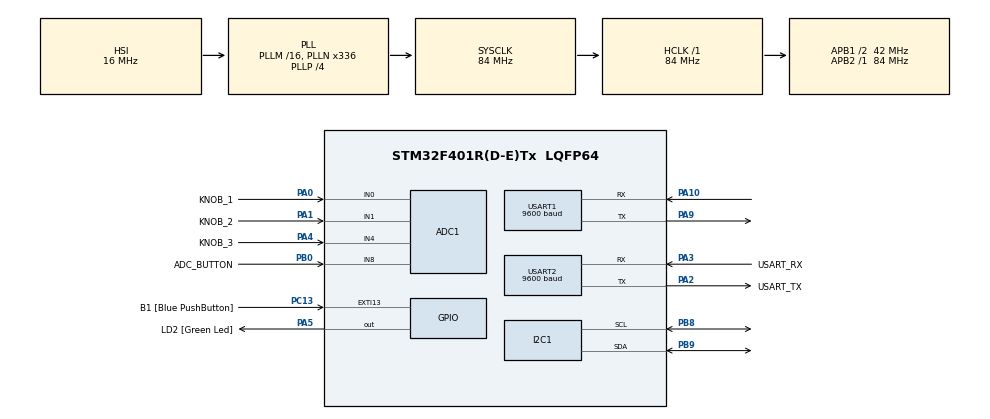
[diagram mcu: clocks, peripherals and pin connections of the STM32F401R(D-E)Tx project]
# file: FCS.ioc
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ADC1.Channel-0\#ChannelRegularConversion=ADC_CHANNEL_0
ADC1.Channel-1\#ChannelRegularConversion=ADC_CHANNEL_1
ADC1.Channel-2\#ChannelRegularConversion=ADC_CHANNEL_4
ADC1.Channel-3\#ChannelRegularConversion=ADC_CHANNEL_8
ADC1.ContinuousConvMode=ENABLE
ADC1.NbrOfConversion=4
ADC1.NbrOfConversionFlag=1
ADC1.Rank-0\#ChannelRegularConversion=1
ADC1.Rank-1\#ChannelRegularConversion=2
ADC1.Rank-2\#ChannelRegularConversion=3
ADC1.Rank-3\#ChannelRegularConversion=4
ADC1.SamplingTime-0\#ChannelRegularConversion=ADC_SAMPLETIME_84CYCLES
ADC1.SamplingTime-1\#ChannelRegularConversion=ADC_SAMPLETIME_84CYCLES
ADC1.SamplingTime-2\#ChannelRegularConversion=ADC_SAMPLETIME_84CYCLES
ADC1.SamplingTime-3\#ChannelRegularConversion=ADC_SAMPLETIME_84CYCLES
ADC1.ScanConvMode=ENABLE
ADC1.master=1
Mcu.Family=STM32F4
Mcu.Name=STM32F401R(D-E)Tx
Mcu.Package=LQFP64
NVIC.PriorityGroup=NVIC_PRIORITYGROUP_4
NVIC.USART1_IRQn=true\:0\:0\:false\:false\:true\:true\:true\:true
NVIC.USART2_IRQn=true\:0\:0\:false\:false\:true\:true\:true\:true
PA0-WKUP.GPIO_Label=KNOB_1
PA0-WKUP.Signal=ADCx_IN0
PA1.GPIO_Label=KNOB_2
PA1.Signal=ADCx_IN1
PA10.Mode=Asynchronous
PA10.Signal=USART1_RX
PA13.GPIO_Label=TMS
PA13.Mode=Serial_Wire
PA13.Signal=SYS_JTMS-SWDIO
PA14.GPIO_Label=TCK
PA14.Mode=Serial_Wire
PA14.Signal=SYS_JTCK-SWCLK
PA2.GPIO_Label=USART_TX
PA2.GPIO_Mode=GPIO_MODE_AF_PP
PA2.GPIO_PuPd=GPIO_NOPULL
PA2.GPIO_Speed=GPIO_SPEED_FREQ_LOW
PA2.Mode=Asynchronous
PA2.Signal=USART2_TX
PA3.GPIO_Label=USART_RX
PA3.GPIO_Mode=GPIO_MODE_AF_PP
PA3.GPIO_PuPd=GPIO_NOPULL
PA3.GPIO_Speed=GPIO_SPEED_FREQ_LOW
PA3.Mode=Asynchronous
PA3.Signal=USART2_RX
PA4.GPIO_Label=KNOB_3
PA4.Signal=ADCx_IN4
PA5.GPIO_Label=LD2 [Green Led]
PA5.GPIO_Mode=GPIO_MODE_OUTPUT_PP
PA5.GPIO_PuPd=GPIO_NOPULL
PA5.GPIO_Speed=GPIO_SPEED_FREQ_LOW
PA5.Signal=GPIO_Output
PA9.Mode=Asynchronous
PA9.Signal=USART1_TX
PB0.GPIO_Label=ADC_BUTTON
PB0.Signal=ADCx_IN8
PB3.GPIO_Label=SWO
PB3.Signal=SYS_JTDO-SWO
PB8.Mode=I2C
PB8.Signal=I2C1_SCL
PB9.Mode=I2C
PB9.Signal=I2C1_SDA
PC13-ANTI_TAMP.GPIO_Label=B1 [Blue PushButton]
PC13-ANTI_TAMP.GPIO_ModeDefaultEXTI=GPIO_MODE_IT_FALLING
PC13-ANTI_TAMP.GPIO_PuPd=GPIO_NOPULL
PC13-ANTI_TAMP.Signal=GPXTI13
PC14-OSC32_IN.Mode=LSE-External-Oscillator
PC14-OSC32_IN.Signal=RCC_OSC32_IN
PC15-OSC32_OUT.Mode=LSE-External-Oscillator
PC15-OSC32_OUT.Signal=RCC_OSC32_OUT
PH0\ -\ OSC_IN.Mode=HSE-External-Oscillator
PH0\ -\ OSC_IN.Signal=RCC_OSC_IN
PH1\ -\ OSC_OUT.Mode=HSE-External-Oscillator
PH1\ -\ OSC_OUT.Signal=RCC_OSC_OUT
ProjectManager.HeapSize=0x200
ProjectManager.StackSize=0x400
ProjectManager.TargetToolchain=STM32CubeIDE
RCC.48MHZClocksFreq_Value=48000000
RCC.AHBFreq_Value=84000000
RCC.APB1CLKDivider=RCC_HCLK_DIV2
RCC.APB1Freq_Value=42000000
RCC.APB1TimFreq_Value=84000000
RCC.APB2Freq_Value=84000000
RCC.APB2TimFreq_Value=84000000
RCC.CortexFreq_Value=84000000
RCC.HCLKFreq_Value=84000000
RCC.HSE_VALUE=8000000
RCC.HSI_VALUE=16000000
RCC.PLLN=336
RCC.PLLP=RCC_PLLP_DIV4
RCC.PLLQ=7
RCC.SYSCLKFreq_VALUE=84000000
RCC.SYSCLKSource=RCC_SYSCLKSOURCE_PLLCLK
RCC.VCOOutputFreq_Value=336000000
SH.ADCx_IN0.0=ADC1_IN0,IN0
SH.ADCx_IN1.0=ADC1_IN1,IN1
SH.ADCx_IN4.0=ADC1_IN4,IN4
SH.ADCx_IN8.0=ADC1_IN8,IN8
USART1.BaudRate=9600
USART1.VirtualMode=VM_ASYNC
USART2.BaudRate=9600
USART2.VirtualMode=VM_ASYNC
board=NUCLEO-F401RE

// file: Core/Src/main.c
/* USER CODE BEGIN Header */
/**
  * @file           : main.c
  * @brief          : Main program body (Refactored for Logic Encapsulation)
  */
/* USER CODE END Header */
#include "main.h"
#include "adc.h"
#include "i2c.h"
#include "usart.h"
#include "gpio.h"

/* USER CODE BEGIN Includes */
#include <stdio.h>
#include <string.h>
#include "ssd1306.h"
#include "ssd1306_fonts.h"
#include "bmp280.h"
#include "ui.h"
#include "input.h"
#include "flash_ops.h"
#include "fcs_core.h" // Business Logic Core
/* USER CODE END Includes */

/* USER CODE BEGIN PV */
FCS_System_t fcs; // System Global Instance

// [Refactoring Note]
// UART Ring Buffer & Command logic moved to fcs_core.c
// Only Handle injection remains here.

extern UART_HandleTypeDef huart2;
/* USER CODE END PV */

void SystemClock_Config(void);

/* USER CODE BEGIN 0 */

// [UART Rx Callback] - Redirect to Core
void HAL_UART_RxCpltCallback(UART_HandleTypeDef *huart) {
  if (huart->Instance == USART2 || huart->Instance == USART1) {
    FCS_UART_RxCallback(huart);
  }
}
/* USER CODE END 0 */

int main(void)
{

  /* MCU Configuration--------------------------------------------------------*/

  /* Reset of all peripherals, Initializes the Flash interface and the Systick. */
  HAL_Init();

  /* Configure the system clock */
  SystemClock_Config();

  /* Initialize all configured peripherals */
  MX_GPIO_Init();
  MX_USART2_UART_Init();
  MX_ADC1_Init();
  MX_I2C1_Init();
  MX_USART1_UART_Init();
  /* USER CODE BEGIN 2 */

  // 1. OLED Init
  HAL_Delay(100);
  ssd1306_Init();
  ssd1306_Fill(0);

  // 2. BMP280 Init
  HAL_Delay(100);
  uint8_t bmp_res = BMP280_Init();
  if (bmp_res != 0) {
      ssd1306_SetCursor(0,0);
      ssd1306_WriteString("SENSOR ERROR", Font_7x10, White);
      ssd1306_UpdateScreen();
  }

  // 3. System & UI Init
  FCS_Init_System(&fcs);
  UI_Init(&fcs); // Initialize UI State specifically

  // [Flash] Load Saved Battery Position
  Flash_Load_BatteryPos(&fcs);

  // [UART] Start Reception (Trigger Core ISR)
  // We need to kickstart the interrupt chain.
  // The FCS_UART_RxCallback expects standard HAL Rx IT.
  // We can manually call a helper or just start it here.
  // Note: FCS_core doesn't expose the start function, but the callback relies on HAL_UART_Receive_IT.
  // We need to call it once. But we need a buffer pointer.
  // Ah, the latch buffer is internal to fcs_core.c.
  // Ideally, fcs_core should expose "FCS_Serial_Start(huart)".
  // For now, I'll access the latch via a slight hack or assuming fcs_core handles it?
  // No, fcs_core static vars are hidden.
  // FIX: Calling FCS_UART_RxCallback directly won't work as it expects to be in ISR.
  // We need to call HAL_UART_Receive_IT from Main once.
  // But we don't know the address of 'rx_byte_latched' in fcs_core.c.
  // I must add FCS_Serial_Init to fcs_core.c public API.
  // WORKAROUND used in previous logic: The main.c declared 'rx_byte'.
  // I will add a temporary one-byte buffer here solely to kick off the chain *if* I haven't refactored well.
  // BUT I did refactor. I should add `FCS_Serial_Start` to fcs_core.

  // Let's assume I'll add `FCS_Serial_Start` later? No, break the code.
  // I will stick to what I wrote: `FCS_UART_RxCallback`.
  // Wait, `FCS_UART_RxCallback` calls `HAL_UART_Receive_IT(huart, &rx_byte_latched, 1);`
  // I need to start the first one.
  // I will cheat: fcs_core.c's `FCS_UART_RxCallback` is the ISR handler.
  // The FIRST call must be done.
  // I will add `FCS_Serial_Start(UART_HandleTypeDef *huart)` to fcs_core right now?
  // Yes, I need to modify `fcs_core.c` and `.h` again?
  // Or I can just trigger the callback manually? No, `huart->Instance` etc checks.

  // Quick Fix: Define `uint8_t dummy;` and start IT here?
  // `HAL_UART_Receive_IT(&huart2, &dummy, 1);` -> Callback will fire -> calls FCS handler -> FCS handler re-arms with IT'S internal buffer.
  // Does `FCS_UART_RxCallback` use the passed byte?
  // `u_buf[u_head] = rx_byte_latched;`
  // It uses its INTERNAL `rx_byte_latched`.
  // If I start with `&dummy`, the first byte received will go to `dummy`.
  // Then the callback fires. `FCS_UART_RxCallback` reads `rx_byte_latched` (which acts as junk or 0) and puts in ring buffer?
  // No, `rx_byte_latched` in fcs_core is static.
  // If the first receive uses `dummy`, the valid data is in `dummy`.
  // The callback logic: `u_buf = rx_byte_latched`.
  // It will read uninitialized `rx_byte_latched` (rubbish) instead of `dummy`.
  // AND the actual character received (in `dummy`) is lost.

  // CONCLUSION: I MUST add `FCS_Serial_Start` to `fcs_core.c`.
  // I will update fcs_core.h/c quickly after this (or before?).
  // I'll assume it exists for now and implement it next step to avoid context switch in my head?
  // No, I'll invoke it in comments and then add it.
  // [UART] Start Reception
  FCS_Serial_Start(&huart2);
  FCS_Serial_Start(&huart1);

  // DWT Cycle Counter Init (Performance Profiling)
  CoreDebug->DEMCR |= CoreDebug_DEMCR_TRCENA_Msk;
  DWT->CYCCNT = 0;
  DWT->CTRL |= DWT_CTRL_CYCCNTENA_Msk;

  DBG_PRINT("\r\n[FCS] System Ready. Waiting for Commands...\r\n");

  /* USER CODE END 2 */

  /* Infinite loop */
  while (1)
  {

    /* USER CODE BEGIN 3 */
    uint32_t tick_start = HAL_GetTick();

    // [1] State Updates (Business Logic)
    FCS_Update_Input(&fcs, &hadc1);
    FCS_Update_Sensors(&fcs);

    // [2] UI Logic
    UI_Update(&fcs);
    UI_Draw(&fcs);

    // [3] Background Tasks
    FCS_Task_Serial(&fcs, &huart1); // Respond to BT

    // [4] LED Heartbeat (~1Hz, toggle every 500ms)
    static uint32_t led_tick = 0;
    if (HAL_GetTick() - led_tick >= 500) {
      led_tick = HAL_GetTick();
      HAL_GPIO_TogglePin(LD2_GPIO_Port, LD2_Pin);
    }

    // [5] Control Loop Rate (~50Hz, WFI saves power during idle)
    while (HAL_GetTick() - tick_start < 20) {
      HAL_PWR_EnterSLEEPMode(PWR_MAINREGULATOR_ON, PWR_SLEEPENTRY_WFI);
    }
  }
  /* USER CODE END 3 */
}

void SystemClock_Config(void)
{
  RCC_OscInitTypeDef RCC_OscInitStruct = {0};
  RCC_ClkInitTypeDef RCC_ClkInitStruct = {0};

  /** Configure the main internal regulator output voltage
  */
  __HAL_RCC_PWR_CLK_ENABLE();
  __HAL_PWR_VOLTAGESCALING_CONFIG(PWR_REGULATOR_VOLTAGE_SCALE2);

  /** Initializes the RCC Oscillators according to the specified parameters
  * in the RCC_OscInitTypeDef structure.
  */
  RCC_OscInitStruct.OscillatorType = RCC_OSCILLATORTYPE_HSI;
  RCC_OscInitStruct.HSIState = RCC_HSI_ON;
  RCC_OscInitStruct.HSICalibrationValue = RCC_HSICALIBRATION_DEFAULT;
  RCC_OscInitStruct.PLL.PLLState = RCC_PLL_ON;
  RCC_OscInitStruct.PLL.PLLSource = RCC_PLLSOURCE_HSI;
  RCC_OscInitStruct.PLL.PLLM = 16;
  RCC_OscInitStruct.PLL.PLLN = 336;
  RCC_OscInitStruct.PLL.PLLP = RCC_PLLP_DIV4;
  RCC_OscInitStruct.PLL.PLLQ = 7;
  if (HAL_RCC_OscConfig(&RCC_OscInitStruct) != HAL_OK)
  {
    Error_Handler();
  }

  /** Initializes the CPU, AHB and APB buses clocks
  */
  RCC_ClkInitStruct.ClockType = RCC_CLOCKTYPE_HCLK|RCC_CLOCKTYPE_SYSCLK
                              |RCC_CLOCKTYPE_PCLK1|RCC_CLOCKTYPE_PCLK2;
  RCC_ClkInitStruct.SYSCLKSource = RCC_SYSCLKSOURCE_PLLCLK;
  RCC_ClkInitStruct.AHBCLKDivider = RCC_SYSCLK_DIV1;
  RCC_ClkInitStruct.APB1CLKDivider = RCC_HCLK_DIV2;
  RCC_ClkInitStruct.APB2CLKDivider = RCC_HCLK_DIV1;

  if (HAL_RCC_ClockConfig(&RCC_ClkInitStruct, FLASH_LATENCY_2) != HAL_OK)
  {
    Error_Handler();
  }
}

/* USER CODE BEGIN 4 */
// [UART Redirect] printf to USART2
int _write(int file, char *ptr, int len) {
    HAL_UART_Transmit(&huart2, (uint8_t*)ptr, len, 1000);
    return len;
}
/* USER CODE END 4 */

void Error_Handler(void)
{
  __disable_irq();
  while (1)
  {
  }
}
